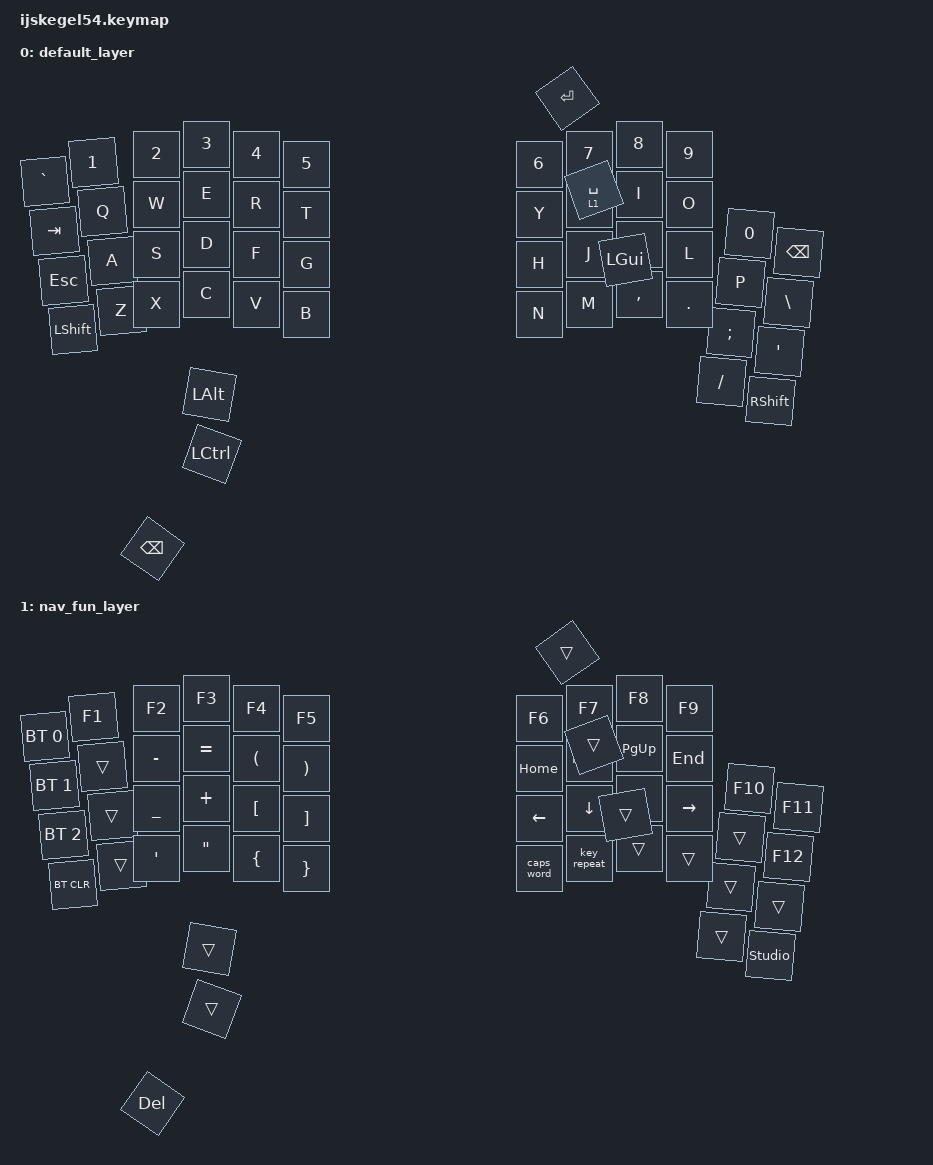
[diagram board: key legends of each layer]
#include <behaviors.dtsi>
#include <dt-bindings/zmk/keys.h>
#include <dt-bindings/zmk/bt.h>

/ {
    keymap {
        compatible = "zmk,keymap";


        default_layer {
            //------------------------------------------------   ------------------------------------------------
            //   `   |   1   |   2   |   3   |   4   |   5   |   |   6   |   7   |   8   |   9   |   0   | BKSPCE|
            //  TAB  |   Q   |   W   |   E   |   R   |   T   |   |   Y   |   U   |   I   |   O   |   P   |   \   |
            //  ESC  |   A   |   S   |   D   |   F   |   G   |   |   H   |   J   |   K   |   L   |   ;   |   '   |
            // SHIFT |   Z   |   X   |   C   |   V   |   B   |   |   N   |   M   |   ,   |   .   |   /   | SHIFT |
            //                       | L-ALT | L-CTRL| BKSPCE|   | ENTER | SPACE | L-GUI |

            bindings = <
                &kp GRAVE  &kp N1 &kp N2 &kp N3 &kp N4 &kp N5     &kp N6 &kp N7 &kp N8    &kp N9  &kp N0        &kp BACKSPACE
                &kp TAB    &kp Q  &kp W  &kp E  &kp R  &kp T      &kp Y  &kp U  &kp I     &kp O   &kp P         &kp BACKSLASH
                &kp ESCAPE &kp A  &kp S  &kp D  &kp F  &kp G      &kp H  &kp J  &kp K     &kp L   &kp SEMICOLON &kp SINGLE_QUOTE
                &kp LSHIFT &kp Z  &kp X  &kp C  &kp V  &kp B      &kp N  &kp M  &kp COMMA &kp DOT &kp SLASH     &kp RSHIFT
                            &kp LALT &kp LCTRL &kp BACKSPACE      &kp ENTER &lt 1 SPACE &kp LGUI
            >;
        };

        nav_fun_layer {
            //-----------------------------------------------   ------------------------------------------------
            // BT 0 |   F1  |   F2  |   F3  |   F4  |   F5  |   |   F6  |   F7  |  F8   |  F9   |  F10  |  F11  |
            // BT 1 |       |   -   |   =   |   (   |   )   |   | HOME  | PGDWN | PGUP  |  END  |       |  F12  |
            // BT 2 |       |   _   |   +   |   [   |   ]   |   | LEFT  | DOWN  |  UP   | RIGHT |       |       |
            // BTCLR|       |   '   |   "   |   {   |   }   |   | CAPSW | REPEAT|       |       |       | stdunl|
            //                      |       |       |  DEL  |   |       |       |       |

            bindings = <
                &bt BT_SEL 0 &kp F1 &kp F2    &kp F3    &kp F4   &kp F5      &kp F6     &kp F7      &kp F8    &kp F9    &kp F10 &kp F11
                &bt BT_SEL 1 &trans &kp MINUS &kp EQUAL &kp LPAR &kp RPAR    &kp HOME   &kp PG_DN   &kp PG_UP &kp END   &trans  &kp F12
                &bt BT_SEL 2 &trans &kp UNDER &kp PLUS  &kp LBKT &kp RBKT    &kp LEFT   &kp DOWN    &kp UP    &kp RIGHT &trans  &trans
                &bt BT_CLR   &trans &kp SQT   &kp DQT   &kp LBRC &kp RBRC    &caps_word &key_repeat &trans    &trans    &trans  &studio_unlock
                                              &trans    &trans   &kp DEL     &trans     &trans      &trans
            >;
        };

        extra1 {
            status = "reserved";
        };

        extra2 {
            status = "reserved";
        };
    };
};
